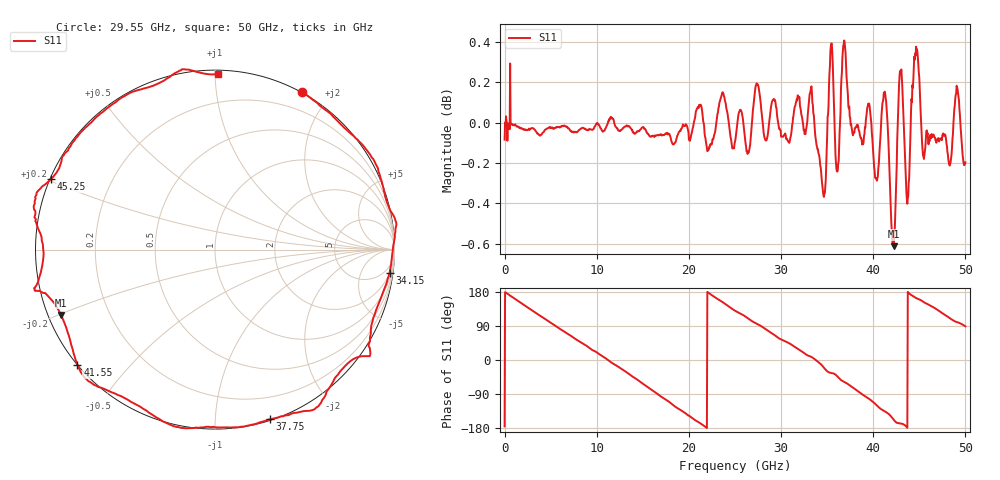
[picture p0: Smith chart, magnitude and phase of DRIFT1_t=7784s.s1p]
!Created with skrf (http://scikit-rf.org).
# Hz S RI R 50.0
!freq ReS11 ImS11
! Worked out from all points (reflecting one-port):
!   1001 points, 300 kHz to 50 GHz, reference 50 ohm
!   lowest |S11| = -0.6 dB at 42.2 GHz (marker M1), VSWR 28.37, Z = 1.84 - j10.2 ohm
!   phase of S11 starts at -175 deg and turns -816 deg over the sweep
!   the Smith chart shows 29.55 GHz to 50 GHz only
!   S11 on the Smith chart (normalised r, x): 29.55 GHz: -0.01, +1.70; 34.15 GHz: 2, -15; 37.75 GHz: 0.01, -1.38; 41.55 GHz: -0.00, -0.36; 45.25 GHz: 0.00, +0.21; 50 GHz: 0.02, +1.02
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300000  -0.9871 -0.0802
1.500291e9  -0.9056 0.4182
3.30028e9  -0.5808 0.809
6.250262e9  0.2018 0.9776
9.500243e9  0.8911 0.4447
1.250022e10  0.9326 -0.3487
1.580021e10  0.2394 -0.9627
1.74002e10  -0.2229 -0.9681
1.875019e10  -0.5968 -0.7934
2.150017e10  -0.992 -0.1505
2.345016e10  -0.9264 0.4119
2.500015e10  -0.6368 0.7571
2.735014e10  -0.1065 1.017
2.955012e10  0.487 0.8791
3.125011e10  0.7833 0.6211
3.31001e10  1.001 0.1777
3.41501e10  0.9722 -0.1304
3.520009e10  0.8624 -0.5481
3.750008e10  0.3793 -0.9284
3.775007e10  0.3072 -0.9452
3.955006e10  -0.2176 -0.9874
4.155005e10  -0.7663 -0.6425
4.220005e10  -0.8576 -0.3646
4.290004e10  -1.004 -0.2278
4.375004e10  -0.9576 0.00443
4.525003e10  -0.9129 0.394
4.775001e10  -0.4858 0.8665
5e10  0.0184 0.9775
